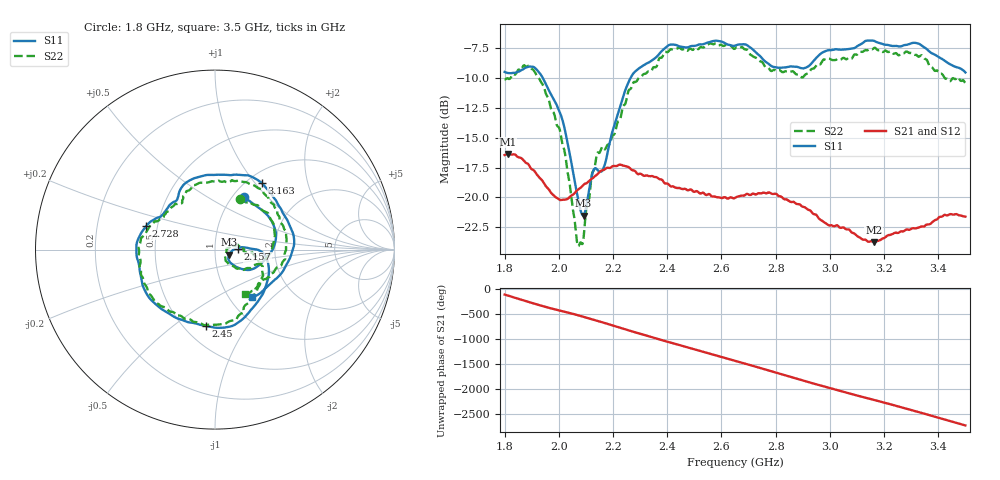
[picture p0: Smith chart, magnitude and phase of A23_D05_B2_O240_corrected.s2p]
! Created with skrf 1.9.0 (http://scikit-rf.org).
# Hz S RI R 50.0
!freq ReS11 ImS11 ReS21 ImS21 ReS12 ImS12 ReS22 ImS22
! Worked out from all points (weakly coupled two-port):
!   1601 points, 1.8 GHz to 3.5 GHz, reference 50 ohm
!   highest |S21| = -16.36 dB at 1.812 GHz (marker M1); lowest = -23.7 dB at 3.162 GHz (marker M2)
!   lowest |S11| = -21.5 dB at 2.091 GHz (marker M3), VSWR 1.18, Z = 58.4 - j3.43 ohm
!   |S11| at or under -10 dB: 1.941 GHz to 2.264 GHz (322.6 MHz wide, 15.3 % of centre)
!   |S22| runs from -24.1 to -7.1 dB; largest |S21 - S12| = 0.0028
!   S11 on the Smith chart (normalised r, x): 1.8 GHz: 1.13, +0.75; 2.157 GHz: 1.29, +0.01; 2.45 GHz: 0.63, -0.66; 2.728 GHz: 0.43, +0.13; 3.163 GHz: 1.16, +1.08; 3.5 GHz: 1.27, -0.75
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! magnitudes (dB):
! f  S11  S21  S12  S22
! 1.8 GHz  -9.5  -16.4  -16.5  -10.1
! 1.812 GHz  -9.6  -16.4  -16.4  -10.0
! 1.886 GHz  -9.1  -17.2  -17.2  -9.0
! 1.941 GHz  -10.0  -18.7  -18.7  -10.6
! 2.013 GHz  -13.4  -20.2  -20.2  -15.4
! 2.067 GHz  -19.6  -19.4  -19.4  -23.7
! 2.084 GHz  -21.3  -19.1  -19.1  -23.8
! 2.091 GHz  -21.5  -18.9  -19.0  -23.5
! 2.127 GHz  -17.8  -18.4  -18.3  -17.8
! 2.157 GHz  -17.8  -17.8  -17.7  -15.9
! 2.261 GHz  -10.1  -17.5  -17.5  -10.9
! 2.367 GHz  -8.1  -18.4  -18.4  -8.5
! 2.45 GHz  -7.4  -19.3  -19.3  -7.5
! 2.65 GHz  -7.3  -20.0  -20.0  -7.5
! 2.728 GHz  -7.8  -19.7  -19.8  -8.3
! 2.799 GHz  -9.1  -19.7  -19.7  -9.3
! 2.934 GHz  -8.7  -21.3  -21.2  -9.2
! 3.162 GHz  -6.9  -23.7  -23.7  -7.5
! 3.163 GHz  -6.9  -23.7  -23.7  -7.5
! 3.217 GHz  -7.2  -23.2  -23.1  -7.8
! 3.325 GHz  -7.1  -22.5  -22.5  -8.2
! 3.5 GHz  -9.5  -21.6  -21.6  -10.4
